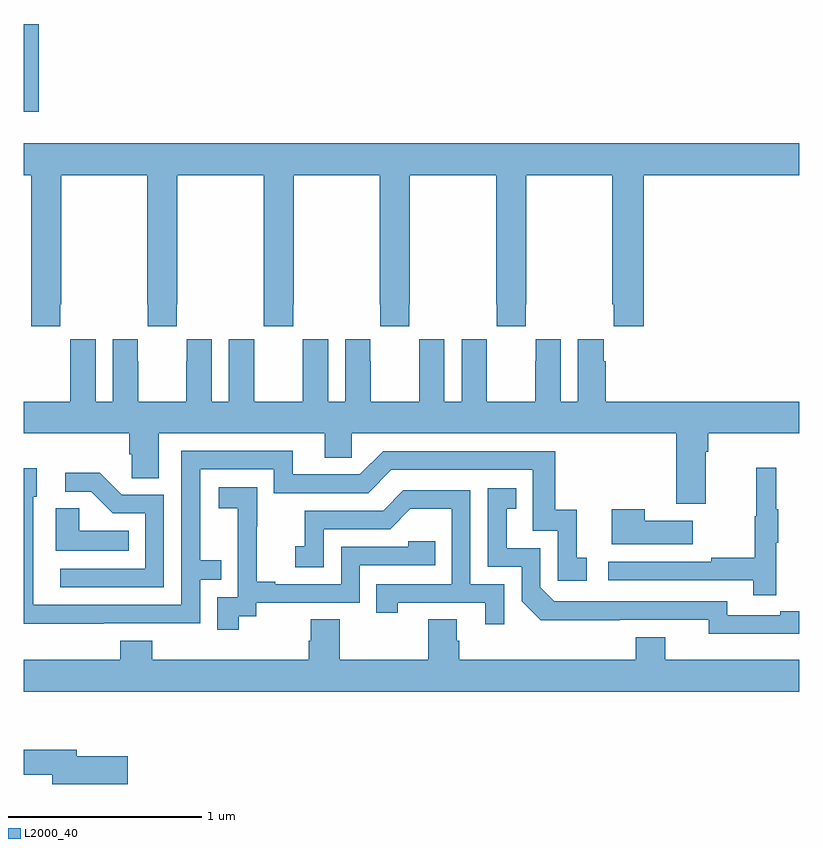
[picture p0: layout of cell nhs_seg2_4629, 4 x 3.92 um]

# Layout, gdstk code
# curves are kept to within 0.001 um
import gdstk
lib = gdstk.Library(unit=1e-6, precision=1e-09)
def R(c, l, rs):  # rectangles x0, y0, x1, y1
    for r in rs: c.add(gdstk.rectangle(r[:2], r[2:], *l))
def P(c, l, *ps):  # polygons
    for p in ps: c.add(gdstk.Polygon(p, *l))
L2000_40 = (2000, 40)

nhs_seg2_4629 = lib.new_cell('nhs_seg2_4629')
R(nhs_seg2_4629, L2000_40, [(363,597.348,363.077,597.8)])
P(nhs_seg2_4629, L2000_40, [(363.189,596.353),(363.192,596.353),(363.192,597.02),(363.637,597.02),(363.637,596.353),(363.639,596.353),(363.639,596.241),(363.789,596.241),(363.789,596.353),(363.792,596.353),(363.792,597.02),(364.237,597.02),(364.237,596.353),(364.239,596.353),(364.239,596.241),(364.389,596.241),(364.389,596.353),(364.392,596.353),(364.392,597.02),(364.837,597.02),(364.837,596.353),(364.839,596.353),(364.839,596.241),(364.989,596.241),(364.989,596.353),(364.992,596.353),(364.992,597.02),(365.437,597.02),(365.437,596.353),(365.439,596.353),(365.439,596.241),(365.589,596.241),(365.589,596.353),(365.592,596.353),(365.592,597.02),(366.037,597.02),(366.037,596.353),(366.043,596.353),(366.043,596.241),(366.197,596.241),(366.197,597.02),(367,597.02),(367,597.184),(363,597.184),(363,597.02),(363.037,597.02),(363.037,596.353),(363.039,596.353),(363.039,596.241),(363.189,596.241)],
  [(366.517,595.592),(366.53,595.592),(366.53,595.688),(367,595.688),(367,595.852),(366.002,595.852),(366.002,596.06),(365.992,596.06),(365.992,596.173),(365.858,596.173),(365.858,595.852),(365.77,595.852),(365.77,596.173),(365.64,596.173),(365.64,596.06),(365.639,596.06),(365.639,595.852),(365.389,595.852),(365.389,596.06),(365.388,596.06),(365.388,596.173),(365.258,596.173),(365.258,595.852),(365.17,595.852),(365.17,596.173),(365.04,596.173),(365.04,596.06),(365.039,596.06),(365.039,595.852),(364.789,595.852),(364.789,596.06),(364.788,596.06),(364.788,596.173),(364.658,596.173),(364.658,595.852),(364.57,595.852),(364.57,596.173),(364.44,596.173),(364.44,596.06),(364.439,596.06),(364.439,595.852),(364.189,595.852),(364.189,596.06),(364.188,596.06),(364.188,596.173),(364.058,596.173),(364.058,595.852),(363.97,595.852),(363.97,596.173),(363.84,596.173),(363.84,596.06),(363.839,596.06),(363.839,595.852),(363.589,595.852),(363.589,596.06),(363.588,596.06),(363.588,596.173),(363.458,596.173),(363.458,595.852),(363.37,595.852),(363.37,596.173),(363.24,596.173),(363.24,596.06),(363.239,596.06),(363.239,595.852),(363,595.852),(363,595.688),(363.545,595.688),(363.545,595.579),(363.558,595.579),(363.558,595.456),(363.697,595.456),(363.697,595.688),(364.553,595.688),(364.553,595.561),(364.692,595.561),(364.692,595.688),(366.365,595.688),(366.365,595.326),(366.517,595.326)],
  [(363.413,594.708),(363.909,594.708),(363.909,594.933),(364.019,594.933),(364.019,595.034),(363.909,595.034),(363.909,595.503),(364.29,595.503),(364.29,595.38),(364.776,595.38),(364.896,595.5),(365.625,595.5),(365.625,595.185),(365.754,595.185),(365.754,594.927),(365.905,594.927),(365.905,595.047),(365.852,595.047),(365.852,595.294),(365.741,595.294),(365.741,595.596),(364.854,595.596),(364.734,595.476),(364.387,595.476),(364.387,595.599),(363.813,595.599),(363.813,594.804),(363.048,594.804),(363.048,595.362),(363.067,595.362),(363.067,595.507),(363,595.507),(363,594.707)],
  [(366.881,595.123),(366.892,595.123),(366.892,595.297),(366.881,595.297),(366.881,595.51),(366.778,595.51),(366.778,595.26),(366.771,595.26),(366.771,595.046),(366.547,595.046),(366.547,595.026),(366.015,595.026),(366.015,594.93),(366.763,594.93),(366.763,594.852),(366.881,594.852)],
  [(363.723,595.371),(363.504,595.371),(363.391,595.484),(363.213,595.484),(363.213,595.386),(363.347,595.386),(363.458,595.275),(363.627,595.275),(363.627,594.99),(363.189,594.99),(363.189,594.894),(363.723,594.894)],
  [(364.108,594.745),(364.2,594.745),(364.2,594.813),(364.734,594.813),(364.734,595.008),(365.123,595.008),(365.123,595.131),(364.983,595.131),(364.983,595.104),(364.638,595.104),(364.638,594.909),(364.297,594.909),(364.297,594.922),(364.202,594.922),(364.202,595.205),(364.203,595.205),(364.203,595.411),(364.005,595.411),(364.005,595.301),(364.103,595.301),(364.103,595.073),(364.104,595.073),(364.104,594.843),(363.999,594.843),(363.999,594.675),(364.108,594.675)],
  [(366.902,594.654),(367,594.654),(367,594.77),(366.902,594.77),(366.902,594.75),(366.63,594.75),(366.63,594.822),(365.736,594.822),(365.664,594.894),(365.664,595.095),(365.491,595.095),(365.491,595.299),(365.54,595.299),(365.54,595.405),(365.394,595.405),(365.394,594.999),(365.568,594.999),(365.568,594.822),(365.666,594.725),(366.534,594.726),(366.534,594.653)],
  [(365.478,594.909),(365.304,594.909),(365.304,595.395),(364.958,595.395),(364.853,595.29),(364.45,595.29),(364.45,595.105),(364.401,595.105),(364.401,594.996),(364.548,594.996),(364.548,595.194),(364.89,595.194),(364.994,595.298),(365.208,595.298),(365.208,594.909),(364.819,594.909),(364.819,594.762),(364.93,594.762),(364.93,594.813),(365.381,594.813),(365.381,594.702),(365.478,594.702)],
  [(363.542,595.186),(363.285,595.186),(363.285,595.301),(363.164,595.301),(363.164,595.082),(363.542,595.082)],
  [(366.451,595.237),(366.203,595.237),(366.203,595.297),(366.032,595.297),(366.032,595.115),(366.451,595.115)],
  [(367,594.52),(366.31,594.52),(366.31,594.637),(366.158,594.637),(366.158,594.52),(365.246,594.52),(365.246,594.618),(365.233,594.618),(365.233,594.728),(365.086,594.728),(365.086,594.52),(364.629,594.52),(364.629,594.728),(364.481,594.728),(364.481,594.618),(364.469,594.618),(364.469,594.52),(363.662,594.52),(363.662,594.619),(363.497,594.619),(363.497,594.52),(363,594.52),(363,594.356),(367,594.356)],
  [(363.535,594.021),(363.274,594.021),(363.274,594.055),(363,594.055),(363,593.926),(363.146,593.926),(363.146,593.879),(363.535,593.879)])

lib.write_gds('nhs_seg2_4629.gds')
